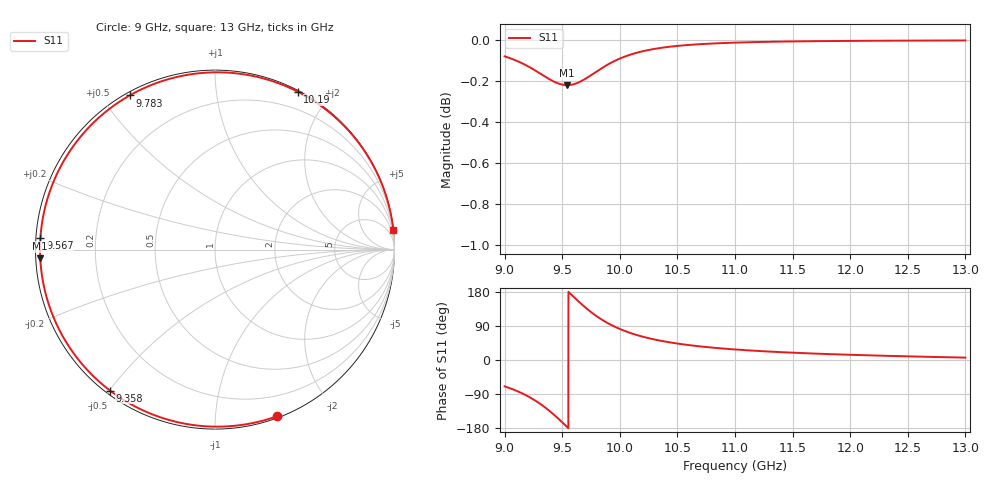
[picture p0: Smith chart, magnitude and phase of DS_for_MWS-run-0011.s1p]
! TOUCHSTONE file generated by CST DESIGN STUDIO
! Date and time: Tue Feb  4 12:20:57 2025
! Project name: C:\Work\MatlabApps\UnitCellOptimizationMatlab\CST\unitcell.cst
! Tree item: Tasks\Sweep1\SPara1\S-Parameters
! Header version: 2024
! Port assignment regex: !\s*Touchstone port\s*([0-9]+)\s*=\s*(CST MWS port|CST DES external port|CST DES block port)\s*(.+)\s* \(\"(.*)\"\)(\s*mode\s*([0-9]+))?.*
! Touchstone port assignment:
! Touchstone port 1 = CST DES external port 1 ("")
# GHz S MA R 50
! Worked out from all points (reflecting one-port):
!   4001 points, 9 GHz to 13 GHz, reference 50 ohm
!   lowest |S11| = -0.2 dB at 9.544 GHz (marker M1), VSWR 78.45, Z = 0.638 - j1.24 ohm
!   phase of S11 starts at -70 deg and turns -284 deg over the sweep
!   S11 on the Smith chart (normalised r, x): 9 GHz: 0.01, -1.44; 9.358 GHz: 0.01, -0.50; 9.567 GHz: 0.01, +0.03; 9.783 GHz: 0.01, +0.59; 10.19 GHz: 0.01, +1.65; 13 GHz: 0, +18
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9  0.9907 -69.6
9.103  0.9883 -81.3
9.213  0.9848 -97.5
9.289  0.982 -111.5
9.358  0.9792 -126.6
9.426  0.9768 -143.7
9.465  0.9758 -154.4
9.5  0.9751 -164.3
9.544  0.9748 -177.2
9.567  0.9749 176.1
9.622  0.9758 160.1
9.682  0.9776 143.6
9.732  0.9795 130.8
9.783  0.9817 119.0
9.83  0.9836 109.2
9.88  0.9856 99.9
9.936  0.9875 90.8
10  0.9894 81.9
10.091  0.9916 71.4
10.189  0.9934 62.3
10.331  0.9951 52.2
10.5  0.9965 43.4
10.721  0.9975 35.1
11  0.9983 27.8
11.5  0.999 19.3
12  0.9993 13.7
12.5  0.9994 9.6
13  0.9995 6.3
